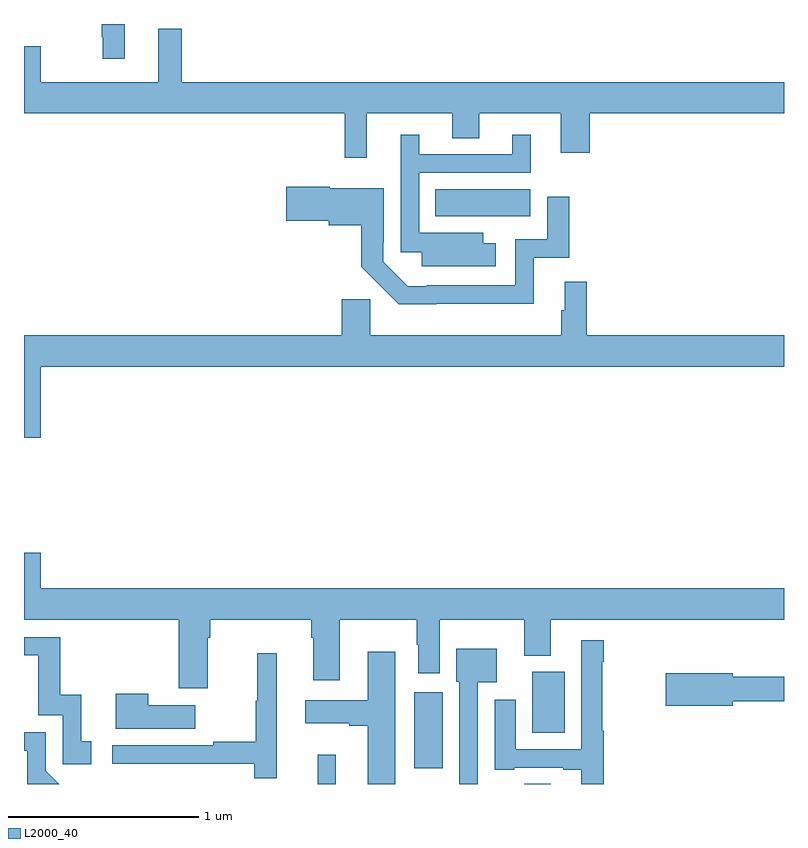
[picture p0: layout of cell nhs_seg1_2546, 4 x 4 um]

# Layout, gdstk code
import gdstk
lib = gdstk.Library(unit=1e-6, precision=1e-09)
def R(c, l, rs):  # rectangles x0, y0, x1, y1
    for r in rs: c.add(gdstk.rectangle(r[:2], r[2:], *l))
def P(c, l, *ps):  # polygons
    for p in ps: c.add(gdstk.Polygon(p, *l))
L2000_40 = (2000, 40)

nhs_seg1_2546 = lib.new_cell('nhs_seg1_2546')
R(nhs_seg1_2546, L2000_40, [(250.545,552.199,250.642,552.352), (251.633,552.199,251.773,552.2), (251.054,552.283,251.203,552.682), (251.675,552.47,251.845,552.79), (251.164,555.188,251.665,555.328)])
P(nhs_seg1_2546, L2000_40, [(249.529,556.199),(249.408,556.199),(249.408,556.129),(249.415,556.129),(249.415,556.017),(249.529,556.017)],
  [(250.805,555.728),(251.255,555.728),(251.255,555.598),(251.395,555.598),(251.395,555.728),(251.825,555.728),(251.825,555.522),(251.978,555.522),(251.978,555.728),(253,555.728),(253,555.892),(249.829,555.892),(249.829,556.174),(249.707,556.174),(249.707,555.892),(249.088,555.892),(249.088,556.081),(249,556.081),(249,555.728),(250.687,555.728),(250.687,555.495),(250.805,555.495)],
  [(251.482,555.046),(251.416,555.046),(251.416,555.1),(251.079,555.1),(251.079,555.417),(251.668,555.417),(251.668,555.616),(251.57,555.616),(251.57,555.513),(251.08,555.513),(251.08,555.616),(250.983,555.616),(250.983,554.997),(251.093,554.997),(251.093,554.924),(251.482,554.924)],
  [(251.171,554.726),(251.683,554.726),(251.683,554.97),(251.87,554.97),(251.87,555.289),(251.754,555.289),(251.754,555.066),(251.586,555.066),(251.586,554.823),(251.119,554.823),(251.119,554.82),(251.019,554.82),(250.89,554.949),(250.89,555.049),(250.893,555.049),(250.893,555.334),(250.608,555.334),(250.608,555.342),(250.38,555.342),(250.38,555.164),(250.604,555.164),(250.604,555.14),(250.775,555.14),(250.775,554.921),(250.972,554.724),(251.171,554.724)],
  [(249.088,554.396),(253,554.396),(253,554.56),(251.963,554.56),(251.963,554.842),(251.846,554.842),(251.846,554.693),(251.827,554.693),(251.827,554.56),(250.823,554.56),(250.823,554.751),(250.673,554.751),(250.673,554.56),(249,554.56),(249,554.022),(249.088,554.022)],
  [(249.967,552.968),(249.98,552.968),(249.98,553.064),(250.511,553.064),(250.511,552.968),(250.523,552.968),(250.523,552.744),(250.663,552.744),(250.663,553.064),(251.068,553.064),(251.068,552.932),(251.075,552.932),(251.075,552.783),(251.188,552.783),(251.188,553.064),(251.633,553.064),(251.633,552.875),(251.773,552.875),(251.773,553.064),(253,553.064),(253,553.228),(249.088,553.228),(249.088,553.417),(249,553.417),(249,553.064),(249.815,553.064),(249.815,552.702),(249.967,552.702)],
  [(249.355,552.423),(249.302,552.423),(249.302,552.67),(249.191,552.67),(249.191,552.972),(249,552.972),(249,552.876),(249.075,552.876),(249.075,552.561),(249.204,552.561),(249.204,552.303),(249.355,552.303)],
  [(252.05,552.478),(252.043,552.478),(252.043,552.842),(252.05,552.842),(252.05,552.955),(251.934,552.955),(251.934,552.381),(251.587,552.381),(251.587,552.643),(251.477,552.643),(251.477,552.273),(251.581,552.273),(251.581,552.285),(251.837,552.285),(251.837,552.273),(251.933,552.273),(251.933,552.199),(252.05,552.199)],
  [(251.388,552.734),(251.488,552.734),(251.488,552.91),(251.276,552.91),(251.276,552.738),(251.292,552.738),(251.292,552.199),(251.388,552.199)],
  [(250.954,552.895),(250.808,552.895),(250.808,552.64),(250.479,552.64),(250.479,552.518),(250.712,552.518),(250.712,552.506),(250.808,552.506),(250.808,552.199),(250.954,552.199)],
  [(250.33,552.886),(250.228,552.886),(250.228,552.636),(250.221,552.636),(250.221,552.422),(249.997,552.422),(249.997,552.402),(249.465,552.402),(249.465,552.306),(250.213,552.306),(250.213,552.228),(250.33,552.228)],
  [(252.73,552.634),(253,552.634),(253,552.763),(252.73,552.763),(252.73,552.781),(252.378,552.781),(252.378,552.611),(252.73,552.611)],
  [(249.901,552.613),(249.653,552.613),(249.653,552.673),(249.482,552.673),(249.482,552.491),(249.901,552.491)],
  [(249.114,552.27),(249.114,552.471),(249,552.471),(249,552.375),(249.018,552.375),(249.018,552.199),(249.185,552.199)])

lib.write_gds('nhs_seg1_2546.gds')
